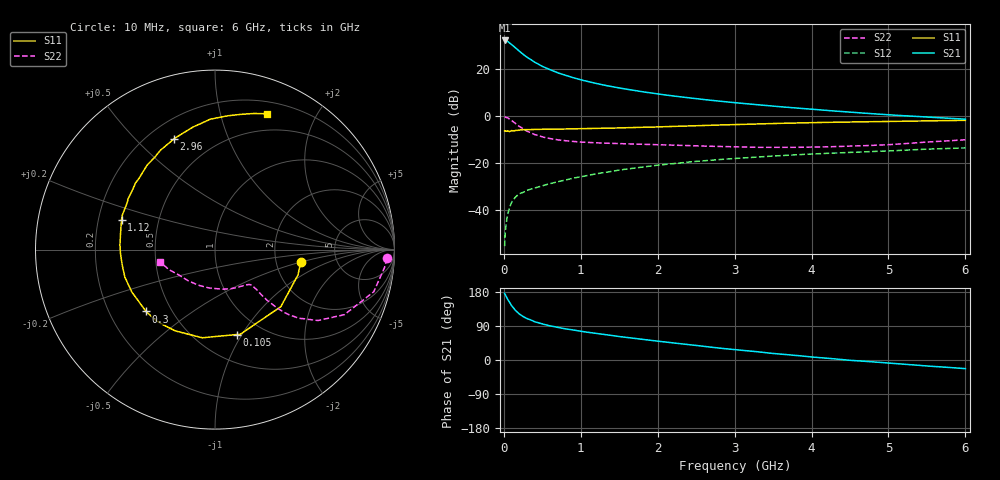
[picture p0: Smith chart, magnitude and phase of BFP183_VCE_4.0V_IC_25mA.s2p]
! Infineon Technologies  Discrete & RF Semiconductors
! BFP183
! VCE = 4.0 V,  IC =  25 mA
! Common Emitter S-Parameters:  Jan 2016
# GHz  S  MA  R  50
!  f  S11  S21  S12  S22
! GHz  MAG  ANG  MAG  ANG  MAG  ANG  MAG  ANG
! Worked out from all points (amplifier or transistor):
!   210 points, 10 MHz to 6 GHz, reference 50 ohm
!   highest |S21| = 32.2 dB at 10 MHz (marker M1)
!   |S21| within 3 dB of that: start of sweep to 147.1 MHz
!   unconditionally stable (mu >= 1): 736.8 MHz to 5.656 GHz
!   at 185 MHz: K = 0.43, MSG = 30.8 dB, |S12| = -33.5 dB
!   at 1.52 GHz: K = 1.14, MAG = 15.1 dB, |S12| = -22.9 dB
!   at 6 GHz: K = 0.96, MSG = 6.1 dB, |S12| = -13.6 dB
!   S11 on the Smith chart (normalised r, x): 10 MHz: 2.77, -0.49; 105 MHz: 0.76, -0.95; 300 MHz: 0.36, -0.34; 1.12 GHz: 0.30, +0.14; 2.96 GHz: 0.30, +0.65; 6 GHz: 0.32, +1.41
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0.01  0.4834 -8.0  40.63 175.8  0.0017 83.9  0.96 -2.9
0.02  0.4834 -17.0  40.55 172.0  0.0035 81.0  0.95 -6.0
0.05  0.4854 -40.9  38.8 159.9  0.0081 76.4  0.915 -14.9
0.1  0.4921 -73.3  33.52 143.5  0.0145 63.6  0.807 -26.7
0.105  0.4884 -75.8  32.95 142.4  0.0149 62.8  0.7953 -27.4
0.15  0.4963 -98.2  28.51 130.7  0.0188 57.5  0.6959 -34.6
0.2  0.5042 -116.1  24.15 121.5  0.0222 53.7  0.6034 -39.3
0.24  0.5108 -126.2  21.26 116.1  0.0233 51.8  0.5473 -41.4
0.26  0.5139 -130.5  20.03 113.6  0.0241 51.2  0.5222 -42.2
0.3  0.5161 -138.1  17.93 109.4  0.0263 50.5  0.4774 -43.2
0.4  0.5202 -153.0  14.03 100.9  0.0293 50.7  0.4042 -44.2
0.5  0.5252 -163.0  11.41 95.0  0.0327 51.1  0.3594 -44.3
0.7  0.527 -177.4  8.309 86.0  0.0399 53.7  0.3112 -43.8
1.02  0.5386 166.5  5.795 75.2  0.0516 55.2  0.2785 -44.7
1.12  0.5467 162.3  5.3 72.2  0.0558 55.0  0.2728 -45.5
1.5  0.5611 149.5  3.957 61.9  0.0709 54.4  0.2588 -49.7
2.02  0.5888 133.3  2.916 49.3  0.0908 51.2  0.2456 -59.1
2.96  0.6568 110.5  1.955 28.2  0.1238 43.1  0.2214 -82.4
3.1  0.6654 107.7  1.861 25.5  0.1282 41.8  0.2184 -86.5
4.1  0.7305 90.5  1.356 6.4  0.1582 32.5  0.2197 -118.4
5.1  0.7715 78.0  1.039 -9.6  0.1839 24.8  0.2513 -147.2
6  0.8105 69.0  0.857 -22.8  0.2096 16.5  0.313 -167.3
